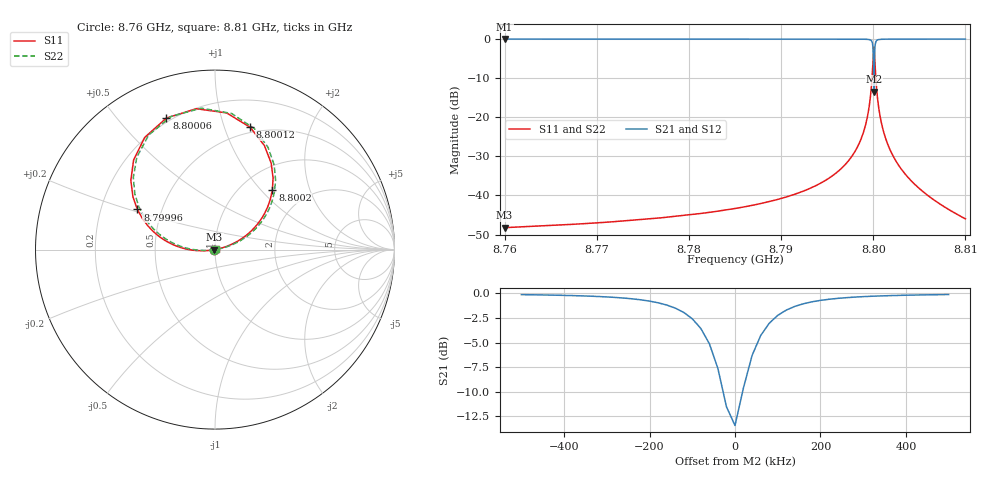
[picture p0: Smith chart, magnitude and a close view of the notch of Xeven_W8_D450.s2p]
! Sonnet Data File
! From: emgraph Version : 16.52
! From Project: Qubit_Xmon2_brg_para
! Data is De-embedded
! Data File Written: 10/25/2017 15:52:25
!< HDATE 10/25/2017 13:56:11
!< MDATE 10/25/2017 13:56:11
!< PARAMS
!< Lj = 11.0
!< Gap = 6.0
!< Pwid = 2000.0
!< Airgap = 6.0
!< Width = 10.0
!< Bwid = 8.0
!< Dis1 = 450.0
!< Dis2 = 456.0
!< END PARAMS
# GHZ S MA R 51.80000
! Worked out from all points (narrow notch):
!   2501 points, 8.76 GHz to 8.81 GHz, reference 51.8 ohm
!   highest |S21| = 0.00 dB at 8.76 GHz (marker M1); lowest = -13.4 dB at 8.80008 GHz (marker M2)
!   notch at M2: 13.4 dB deep, 84.9 kHz wide at half that depth
!   lowest |S11| = -48.2 dB at 8.76 GHz (marker M3), VSWR 1.01, Z = 51.4 - j0.0672 ohm
!   |S11| at or under -10 dB: start of sweep to 8.799868 GHz; 8.80028 GHz to end of sweep
!   |S22| runs from -48.2 to -2.0 dB; largest |S21 - S12| = 0
!   S11 on the Smith chart (normalised r, x): 8.76 GHz: 0.99, -0.00; 8.79996 GHz: 0.36, +0.21; 8.80006 GHz: 0.18, +0.68; 8.80012 GHz: 0.45, +1.23; 8.8002 GHz: 1.37, +1.16; 8.81 GHz: 1.01, +0.00
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8.76  0.003879 -170.3  1 -80.4  1 -80.4  0.003879 -170.6
!< P1 F=8.76 Eeff=(6.44679147 -2.9786e-5) Z0=(51.7991429 1.19067e-4) R=0.0 C=0.0
!< P2 F=8.76 Eeff=(6.44679147 -2.9786e-5) Z0=(51.7991429 1.19067e-4) R=0.0 C=0.0
8.76834  0.004346 -170.3  1 -80.5  1 -80.5  0.004346 -170.7
8.77668  0.005144 -170.3  1 -80.6  1 -80.6  0.005144 -171.0
8.785  0.006818 -170.3  1 -80.8  1 -80.8  0.006818 -171.4
8.79334  0.01264 -170.6  0.9999 -81.2  0.9999 -81.2  0.01264 -172.1
8.79634  0.02109 -171.1  0.9997 -81.7  0.9997 -81.7  0.02109 -172.8
8.79828  0.04156 -172.5  0.9987 -82.9  0.9987 -82.9  0.04156 -174.4
8.79936  0.1004 -176.8  0.9924 -86.3  0.9924 -86.3  0.1004 -178.7
8.79972  0.1955 176.3  0.9707 -91.8  0.9707 -91.8  0.1955 174.3
8.79984  0.2834 169.6  0.9371 -96.9  0.9371 -96.9  0.2834 167.6
8.79996  0.487 152.6  0.7998 -109.3  0.7998 -109.3  0.487 150.6
8.80006  0.7815 110.2  0.2653 -110.5  0.2653 -110.5  0.7815 108.2
8.80008  0.7917 97.5  0.2133 -69.5  0.2133 -69.5  0.7917 95.5
8.80012  0.709 74.0  0.4836 -39.6  0.4836 -39.6  0.709 71.9
8.8002  0.461 46.1  0.822 -53.4  0.822 -53.4  0.4609 44.1
8.80036  0.2358 27.9  0.9565 -66.9  0.9565 -66.9  0.2358 25.8
8.8005  0.1614 22.3  0.9798 -71.2  0.9798 -71.2  0.1614 20.2
8.80076  0.1006 17.9  0.9921 -74.8  0.9921 -74.8  0.1006 15.8
8.80168  0.04202 13.7  0.9986 -78.1  0.9986 -78.1  0.04201 11.5
8.8029  0.02298 12.3  0.9996 -79.2  0.9996 -79.2  0.02298 10.0
8.80462  0.01348 11.8  0.9998 -79.8  0.9998 -79.8  0.01348 9.2
8.81  0.005026 11.6  1 -80.3  1 -80.3  0.005026 8.1
